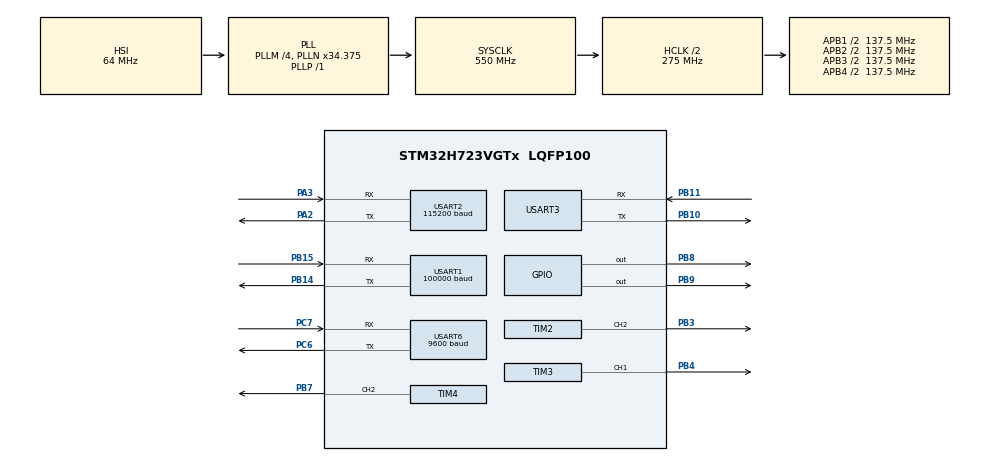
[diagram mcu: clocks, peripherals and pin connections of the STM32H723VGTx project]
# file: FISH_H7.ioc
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CORTEX_M7.Enable_Spec=__NULL
CORTEX_M7.default_mode_Activation=0
Dma.Request0=USART2_RX
Dma.Request1=USART3_TX
Dma.USART2_RX.0.Direction=DMA_PERIPH_TO_MEMORY
Dma.USART2_RX.0.EventEnable=DISABLE
Dma.USART2_RX.0.FIFOMode=DMA_FIFOMODE_DISABLE
Dma.USART2_RX.0.Instance=DMA1_Stream0
Dma.USART2_RX.0.MemDataAlignment=DMA_MDATAALIGN_BYTE
Dma.USART2_RX.0.MemInc=DMA_MINC_ENABLE
Dma.USART2_RX.0.Mode=DMA_CIRCULAR
Dma.USART2_RX.0.PeriphDataAlignment=DMA_PDATAALIGN_BYTE
Dma.USART2_RX.0.PeriphInc=DMA_PINC_DISABLE
Dma.USART2_RX.0.Polarity=HAL_DMAMUX_REQ_GEN_RISING
Dma.USART2_RX.0.Priority=DMA_PRIORITY_MEDIUM
Dma.USART2_RX.0.RequestNumber=1
Dma.USART2_RX.0.SignalID=NONE
Dma.USART2_RX.0.SyncEnable=DISABLE
Dma.USART2_RX.0.SyncPolarity=HAL_DMAMUX_SYNC_NO_EVENT
Dma.USART2_RX.0.SyncRequestNumber=1
Dma.USART2_RX.0.SyncSignalID=NONE
Dma.USART3_TX.1.Direction=DMA_MEMORY_TO_PERIPH
Dma.USART3_TX.1.EventEnable=DISABLE
Dma.USART3_TX.1.FIFOMode=DMA_FIFOMODE_DISABLE
Dma.USART3_TX.1.Instance=DMA1_Stream1
Dma.USART3_TX.1.MemDataAlignment=DMA_MDATAALIGN_BYTE
Dma.USART3_TX.1.MemInc=DMA_MINC_ENABLE
Dma.USART3_TX.1.Mode=DMA_NORMAL
Dma.USART3_TX.1.PeriphDataAlignment=DMA_PDATAALIGN_BYTE
Dma.USART3_TX.1.PeriphInc=DMA_PINC_DISABLE
Dma.USART3_TX.1.Polarity=HAL_DMAMUX_REQ_GEN_RISING
Dma.USART3_TX.1.Priority=DMA_PRIORITY_LOW
Dma.USART3_TX.1.RequestNumber=1
Dma.USART3_TX.1.SignalID=NONE
Dma.USART3_TX.1.SyncEnable=DISABLE
Dma.USART3_TX.1.SyncPolarity=HAL_DMAMUX_SYNC_NO_EVENT
Dma.USART3_TX.1.SyncRequestNumber=1
Dma.USART3_TX.1.SyncSignalID=NONE
FREERTOS.Queues01=SBUS,16,SBUS_Command_t*,0,Dynamic,NULL,NULL;JY901S,16,jy901*,0,Dynamic,NULL,NULL
FREERTOS.Tasks01=SBUS_Task,24,512,SBUS_Recevie,As weak,NULL,Dynamic,NULL,NULL;GPS_Task,8,512,GPS_Receive,As weak,NULL,Dynamic,NULL,NULL;JY901S_Task,8,512,JY901S_Receive,As weak,NULL,Dynamic,NULL,NULL;Control,8,512,Start_Control,As weak,NULL,Dynamic,NULL,NULL
Mcu.Family=STM32H7
Mcu.Name=STM32H723VGTx
Mcu.Package=LQFP100
NVIC.DMA1_Stream0_IRQn=true\:5\:0\:false\:false\:true\:true\:false\:true\:true
NVIC.DMA1_Stream1_IRQn=true\:5\:0\:false\:false\:true\:true\:false\:true\:true
NVIC.PriorityGroup=NVIC_PRIORITYGROUP_4
NVIC.TIM23_IRQn=true\:15\:0\:false\:false\:true\:false\:false\:true\:true
NVIC.TimeBase=TIM23_IRQn
NVIC.TimeBaseIP=TIM23
PA2.Mode=Asynchronous
PA2.Signal=USART2_TX
PA3.Mode=Asynchronous
PA3.Signal=USART2_RX
PB10.Mode=Asynchronous
PB10.Signal=USART3_TX
PB11.Mode=Asynchronous
PB11.Signal=USART3_RX
PB14.Mode=Asynchronous
PB14.Signal=USART1_TX
PB15.Mode=Asynchronous
PB15.Signal=USART1_RX
PB3(JTDO/TRACESWO).Signal=S_TIM2_CH2
PB4(NJTRST).Signal=S_TIM3_CH1
PB7.Signal=S_TIM4_CH2
PB8.Signal=GPIO_Output
PB9.Signal=GPIO_Output
PC6.Mode=Asynchronous
PC6.Signal=USART6_TX
PC7.Mode=Asynchronous
PC7.Signal=USART6_RX
PH0-OSC_IN.Mode=HSE-External-Oscillator
PH0-OSC_IN.Signal=RCC_OSC_IN
PH1-OSC_OUT.Mode=HSE-External-Oscillator
PH1-OSC_OUT.Signal=RCC_OSC_OUT
ProjectManager.HeapSize=0x200
ProjectManager.StackSize=0x400
ProjectManager.TargetToolchain=CMake
RCC.ADCFreq_Value=129000000
RCC.APB1Freq_Value=137500000
RCC.APB2Freq_Value=137500000
RCC.APB3Freq_Value=137500000
RCC.APB4Freq_Value=137500000
RCC.CortexFreq_Value=550000000
RCC.D1PPRE=RCC_APB3_DIV2
RCC.D2PPRE1=RCC_APB1_DIV2
RCC.D2PPRE2=RCC_APB2_DIV2
RCC.D3PPRE=RCC_APB4_DIV2
RCC.DIVM1=4
RCC.DIVN1=34
RCC.DIVP1=1
RCC.HCLKFreq_Value=275000000
RCC.HPRE=RCC_HCLK_DIV2
RCC.PLL2FRACN=0
RCC.PLL3FRACN=0
RCC.PLLFRACN=3072
RCC.SYSCLKFreq_VALUE=550000000
RCC.SYSCLKSource=RCC_SYSCLKSOURCE_PLLCLK
RCC.USBFreq_Value=275000000
SH.S_TIM2_CH2.0=TIM2_CH2,PWM Generation2 CH2
SH.S_TIM3_CH1.0=TIM3_CH1,PWM Generation1 CH1
SH.S_TIM4_CH2.0=TIM4_CH2,PWM Generation2 CH2
TIM2.Channel-PWM\ Generation2\ CH2=TIM_CHANNEL_2
TIM2.Period=2000-1
TIM2.Prescaler=2750-1
TIM3.Channel-PWM\ Generation1\ CH1=TIM_CHANNEL_1
TIM3.Period=2000-1
TIM3.Prescaler=2750-1
TIM4.Channel-PWM\ Generation2\ CH2=TIM_CHANNEL_2
TIM4.Period=10000-1
TIM4.Prescaler=275-1
USART1.BaudRate=100000
USART1.Parity=PARITY_EVEN
USART1.StopBits=STOPBITS_2
USART1.VirtualMode-Asynchronous=VM_ASYNC
USART2.BaudRate=115200
USART2.VirtualMode-Asynchronous=VM_ASYNC
USART3.VirtualMode-Asynchronous=VM_ASYNC
USART6.BaudRate=9600
USART6.VirtualMode=VM_ASYNC
VP_FREERTOS_VS_CMSIS_V2.Mode=CMSIS_V2
VP_MEMORYMAP_VS_MEMORYMAP.Mode=CurAppReg
VP_SYS_VS_tim23.Mode=TIM23
VP_TIM2_VS_ClockSourceINT.Mode=Internal
VP_TIM3_VS_ClockSourceINT.Mode=Internal
VP_TIM4_VS_ClockSourceINT.Mode=Internal
board=custom

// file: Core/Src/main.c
/* USER CODE BEGIN Header */
/**
  ******************************************************************************
  * @file           : main.c
  * @brief          : Main program body
  ******************************************************************************
  * @attention
  *
  * Copyright (c) 2025 STMicroelectronics.
  * All rights reserved.
  *
  * This software is licensed under terms that can be found in the LICENSE file
  * in the root directory of this software component.
  * If no LICENSE file comes with this software, it is provided AS-IS.
  *
  ******************************************************************************
  */
/* USER CODE END Header */
#include "main.h"
#include "cmsis_os.h"
#include "dma.h"
#include "tim.h"
#include "usart.h"
#include "gpio.h"

/* USER CODE BEGIN Includes */
#include <stdio.h>
#include <string.h>
#include "steering.h"
#include "sbus.h"
#include "jy901s.h"
#include "NMEA_ATGM336H.h"
/* USER CODE END Includes */

/* USER CODE BEGIN PD */
#define RX_BUFFER_SIZE 512
static uint8_t uart6_rx_buffer[RX_BUFFER_SIZE];
static uint16_t uart6_rx_index = 0;
static uint8_t uart6_receiving = 0;
/* USER CODE END PD */

void SystemClock_Config(void);
void MX_FREERTOS_Init(void);

int main(void)
{

  /* MCU Configuration--------------------------------------------------------*/

  /* Reset of all peripherals, Initializes the Flash interface and the Systick. */
  HAL_Init();

  /* Configure the system clock */
  SystemClock_Config();

  /* Initialize all configured peripherals */
  MX_GPIO_Init();
  MX_DMA_Init();
  MX_TIM2_Init();
  MX_TIM3_Init();
  MX_USART1_UART_Init();
  MX_USART2_UART_Init();
  MX_USART3_UART_Init();
  MX_USART6_UART_Init();
  MX_TIM4_Init();
  /* USER CODE BEGIN 2 */
  HAL_TIM_PWM_Start(&htim2, TIM_CHANNEL_2);
  HAL_TIM_PWM_Start(&htim3, TIM_CHANNEL_1);

  // SBUS_Control_Init(&huart1);
  // GPS_Parser_Init();
  // UART6_Receive_Start();

  //Gyroscope_Rrate(&huart2);
  Gyroscope_Init(&huart_JY901S,&huart_debug);
  //HAL_UART_Transmit(&huart3, (uint8_t*)"hall\n", sizeof("hall\n"), 100);

  /* USER CODE END 2 */

  /* Init scheduler */
  osKernelInitialize();  /* Call init function for freertos objects (in cmsis_os2.c) */
  MX_FREERTOS_Init();

  /* Start scheduler */
  osKernelStart();

  /* We should never get here as control is now taken by the scheduler */

  /* Infinite loop */
  while (1)
  {

    /* USER CODE BEGIN 3 */

    Fish_StateMachine();

  }
  /* USER CODE END 3 */
}

void SystemClock_Config(void)
{
  RCC_OscInitTypeDef RCC_OscInitStruct = {0};
  RCC_ClkInitTypeDef RCC_ClkInitStruct = {0};

  /** Supply configuration update enable
  */
  HAL_PWREx_ConfigSupply(PWR_LDO_SUPPLY);

  /** Configure the main internal regulator output voltage
  */
  __HAL_PWR_VOLTAGESCALING_CONFIG(PWR_REGULATOR_VOLTAGE_SCALE0);

  while(!__HAL_PWR_GET_FLAG(PWR_FLAG_VOSRDY)) {}

  /** Initializes the RCC Oscillators according to the specified parameters
  * in the RCC_OscInitTypeDef structure.
  */
  RCC_OscInitStruct.OscillatorType = RCC_OSCILLATORTYPE_HSI;
  RCC_OscInitStruct.HSIState = RCC_HSI_DIV1;
  RCC_OscInitStruct.HSICalibrationValue = 64;
  RCC_OscInitStruct.PLL.PLLState = RCC_PLL_ON;
  RCC_OscInitStruct.PLL.PLLSource = RCC_PLLSOURCE_HSI;
  RCC_OscInitStruct.PLL.PLLM = 4;
  RCC_OscInitStruct.PLL.PLLN = 34;
  RCC_OscInitStruct.PLL.PLLP = 1;
  RCC_OscInitStruct.PLL.PLLQ = 2;
  RCC_OscInitStruct.PLL.PLLR = 2;
  RCC_OscInitStruct.PLL.PLLRGE = RCC_PLL1VCIRANGE_3;
  RCC_OscInitStruct.PLL.PLLVCOSEL = RCC_PLL1VCOWIDE;
  RCC_OscInitStruct.PLL.PLLFRACN = 3072;
  if (HAL_RCC_OscConfig(&RCC_OscInitStruct) != HAL_OK)
  {
    Error_Handler();
  }

  /** Initializes the CPU, AHB and APB buses clocks
  */
  RCC_ClkInitStruct.ClockType = RCC_CLOCKTYPE_HCLK|RCC_CLOCKTYPE_SYSCLK
                              |RCC_CLOCKTYPE_PCLK1|RCC_CLOCKTYPE_PCLK2
                              |RCC_CLOCKTYPE_D3PCLK1|RCC_CLOCKTYPE_D1PCLK1;
  RCC_ClkInitStruct.SYSCLKSource = RCC_SYSCLKSOURCE_PLLCLK;
  RCC_ClkInitStruct.SYSCLKDivider = RCC_SYSCLK_DIV1;
  RCC_ClkInitStruct.AHBCLKDivider = RCC_HCLK_DIV2;
  RCC_ClkInitStruct.APB3CLKDivider = RCC_APB3_DIV2;
  RCC_ClkInitStruct.APB1CLKDivider = RCC_APB1_DIV2;
  RCC_ClkInitStruct.APB2CLKDivider = RCC_APB2_DIV2;
  RCC_ClkInitStruct.APB4CLKDivider = RCC_APB4_DIV2;

  if (HAL_RCC_ClockConfig(&RCC_ClkInitStruct, FLASH_LATENCY_3) != HAL_OK)
  {
    Error_Handler();
  }
}

/* USER CODE BEGIN 4 */
void UART6_Receive_Start(void)
{
  uart6_rx_index = 0;
  uart6_receiving = 1;
  memset(uart6_rx_buffer, 0, RX_BUFFER_SIZE);
  HAL_UART_Receive_IT(&huart6, &uart6_rx_buffer[uart6_rx_index], 1);
}

void HAL_UART_RxCpltCallback(UART_HandleTypeDef *huart)
{
  if (huart->Instance == USART1) {
    //SBUS_RxCpltCallback(huart);
  }
  if (huart->Instance == USART2)
  {
    //jy901s_data_ready = 1; // 只是设置标志
  }
  if (huart->Instance == USART6 && uart6_receiving) {

    // 如果收到换行符，表示一条完整的NMEA语句接收完成
    if (uart6_rx_buffer[uart6_rx_index] == '\n') {
      // 确保字符串以null结尾
      if (uart6_rx_index < RX_BUFFER_SIZE - 1) {
        uart6_rx_buffer[uart6_rx_index + 1] = '\0';
      } else {
        uart6_rx_buffer[RX_BUFFER_SIZE - 1] = '\0';
      }

      // 打印原始数据用于调试
      printf("Raw NMEA: %s", uart6_rx_buffer);

      // 解析NMEA数据
      GPS_Parse_NMEA((char*)uart6_rx_buffer);

      // 获取解析后的GPS数据
      GPS_Data_t gps_data;
      GPS_Get_Data(&gps_data);

      // 打印解析结果
      if (gps_data.is_valid) {
        printf("Valid GPS - Lat:%s%c, Lon:%s%c\n",
               gps_data.latitude, gps_data.ns_indicator,
               gps_data.longitude, gps_data.ew_indicator);
      } else {
        // printf("Inv alid GPS data or no signal\n");
      }

      // 重置接收缓冲区
      uart6_rx_index = 0;
      memset(uart6_rx_buffer, 0, RX_BUFFER_SIZE);
    }
    else if (uart6_rx_buffer[uart6_rx_index] == '\r') {
      // 忽略回车符，不增加索引
    }
    else if (uart6_rx_buffer[uart6_rx_index] == '$') {
      // 如果是新语句的开始，重置缓冲区
      uart6_rx_index = 0;
      memset(uart6_rx_buffer, 0, RX_BUFFER_SIZE);
      uart6_rx_buffer[uart6_rx_index] = '$';
      uart6_rx_index++;
    }
    else {
      // 正常字符，增加索引
      uart6_rx_index++;

      // 防止缓冲区溢出
      if (uart6_rx_index >= RX_BUFFER_SIZE - 1) {
        uart6_rx_index = 0;  // 缓冲区满时重置
        memset(uart6_rx_buffer, 0, RX_BUFFER_SIZE);
      }
    }

    // 继续接收下一个字符
    HAL_UART_Receive_IT(&huart6, &uart6_rx_buffer[uart6_rx_index], 1);
  }
}
/* USER CODE END 4 */

void HAL_TIM_PeriodElapsedCallback(TIM_HandleTypeDef *htim)
{
  if (htim->Instance == TIM23)
  {
    HAL_IncTick();
  }
}

void Error_Handler(void)
{
  __disable_irq();
  while (1)
  {
  }
}

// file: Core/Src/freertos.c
/* USER CODE BEGIN Header */
/**
  ******************************************************************************
  * File Name          : freertos.c
  * Description        : Code for freertos applications
  ******************************************************************************
  * @attention
  *
  * Copyright (c) 2025 STMicroelectronics.
  * All rights reserved.
  *
  * This software is licensed under terms that can be found in the LICENSE file
  * in the root directory of this software component.
  * If no LICENSE file comes with this software, it is provided AS-IS.
  *
  ******************************************************************************
  */
/* USER CODE END Header */

#include "FreeRTOS.h"
#include "task.h"
#include "main.h"
#include "cmsis_os.h"

/* USER CODE BEGIN Includes */
#include "JY901S.h"
#include"SBUS_T.h"
/* USER CODE END Includes */

/* Definitions for SUBS_Task */
osThreadId_t SBUS_TaskHandle;
const osThreadAttr_t SBUS_Task_attributes = {
  .name = "SBUS_Task",
  .stack_size = 512 * 4,
  .priority = (osPriority_t) osPriorityNormal,
};
/* Definitions for GPS_Task */
osThreadId_t GPS_TaskHandle;
const osThreadAttr_t GPS_Task_attributes = {
  .name = "GPS_Task",
  .stack_size = 512 * 4,
  .priority = (osPriority_t) osPriorityLow,
};
/* Definitions for JY901S_Task */
osThreadId_t JY901S_TaskHandle;
const osThreadAttr_t JY901S_Task_attributes = {
  .name = "JY901S_Task",
  .stack_size = 512 * 4,
  .priority = (osPriority_t) osPriorityLow,
};
/* Definitions for Control */
osThreadId_t ControlHandle;
const osThreadAttr_t Control_attributes = {
  .name = "Control",
  .stack_size = 512 * 4,
  .priority = (osPriority_t) osPriorityLow,
};
/* Definitions for SBUS */
osMessageQueueId_t SBUSHandle;
const osMessageQueueAttr_t SBUS_attributes = {
  .name = "SBUS"
};
/* Definitions for JY901S */
osMessageQueueId_t JY901SHandle;
const osMessageQueueAttr_t JY901S_attributes = {
  .name = "JY901S"
};

void SBUS_Recevie(void *argument);
void GPS_Receive(void *argument);
void JY901S_Receive(void *argument);
void Start_Control(void *argument);

void MX_FREERTOS_Init(void); /* (MISRA C 2004 rule 8.1) */

void MX_FREERTOS_Init(void) {

  /* Create the queue(s) */
  /* creation of SUBS */
  SBUSHandle = osMessageQueueNew (16, sizeof(SBUS_Command_t*), &SBUS_attributes);

  /* creation of JY901S */
  JY901SHandle = osMessageQueueNew (16, sizeof(jy901*), &JY901S_attributes);

  /* Create the thread(s) */
  /* creation of SBUS_Task */
  SBUS_TaskHandle = osThreadNew(SBUS_Recevie, NULL, &SBUS_Task_attributes);

  /* creation of GPS_Task */
  GPS_TaskHandle = osThreadNew(GPS_Receive, NULL, &GPS_Task_attributes);

  /* creation of JY901S_Task */
  JY901S_TaskHandle = osThreadNew(JY901S_Receive, NULL, &JY901S_Task_attributes);

  /* creation of Control */
  ControlHandle = osThreadNew(Start_Control, NULL, &Control_attributes);

}

__weak void SBUS_Recevie(void *argument)
{
  for(;;)
  {
    osDelay(1);
  }
}

__weak void GPS_Receive(void *argument)
{
  for(;;)
  {
    osDelay(1);
  }
}

__weak void JY901S_Receive(void *argument)
{
  for(;;)
  {
    osDelay(1);
  }
}

__weak void Start_Control(void *argument)
{
  for(;;)
  {
    osDelay(1);
  }
}
